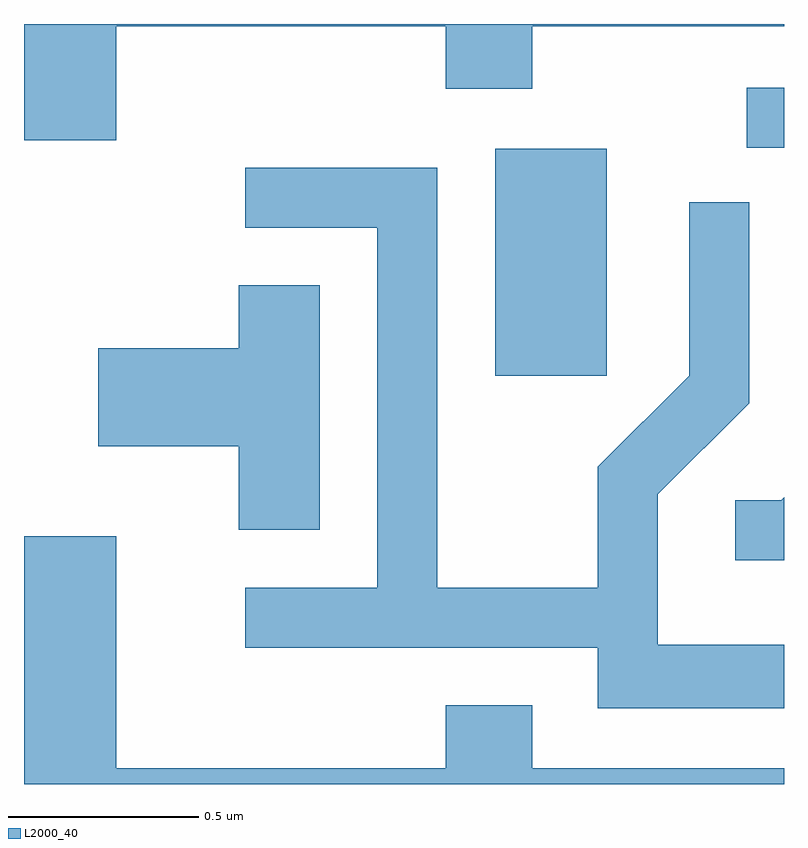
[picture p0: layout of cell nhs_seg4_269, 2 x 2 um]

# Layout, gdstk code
import gdstk
lib = gdstk.Library(unit=1e-6, precision=1e-09)
def R(c, l, rs):  # rectangles x0, y0, x1, y1
    for r in rs: c.add(gdstk.rectangle(r[:2], r[2:], *l))
def P(c, l, *ps):  # polygons
    for p in ps: c.add(gdstk.Polygon(p, *l))
L2000_40 = (2000, 40)

nhs_seg4_269 = lib.new_cell('nhs_seg4_269')
R(nhs_seg4_269, L2000_40, [(187.851,1387.056,188.144,1387.654), (188.513,1387.656,188.611,1387.814)])
P(nhs_seg4_269, L2000_40, [(186.854,1387.976),(187.721,1387.976),(187.721,1387.811),(187.949,1387.811),(187.949,1387.976),(188.611,1387.976),(188.611,1387.982),(186.611,1387.982),(186.611,1387.676),(186.854,1387.676)],
  [(188.611,1386.349),(188.279,1386.349),(188.279,1386.744),(188.519,1386.984),(188.519,1387.513),(188.361,1387.513),(188.361,1387.057),(188.121,1386.817),(188.121,1386.499),(187.699,1386.499),(187.699,1387.604),(187.193,1387.604),(187.193,1387.446),(187.541,1387.446),(187.541,1386.499),(187.193,1386.499),(187.193,1386.341),(188.121,1386.341),(188.121,1386.181),(188.611,1386.181)],
  [(187.389,1387.294),(187.176,1387.294),(187.176,1387.129),(186.806,1387.129),(186.806,1386.871),(187.176,1386.871),(187.176,1386.651),(187.389,1386.651)],
  [(188.611,1386.736),(188.604,1386.729),(188.483,1386.729),(188.483,1386.571),(188.611,1386.571)],
  [(188.611,1386.024),(187.949,1386.024),(187.949,1386.189),(187.721,1386.189),(187.721,1386.024),(186.854,1386.024),(186.854,1386.634),(186.611,1386.634),(186.611,1385.982),(188.611,1385.982)])

lib.write_gds('nhs_seg4_269.gds')
